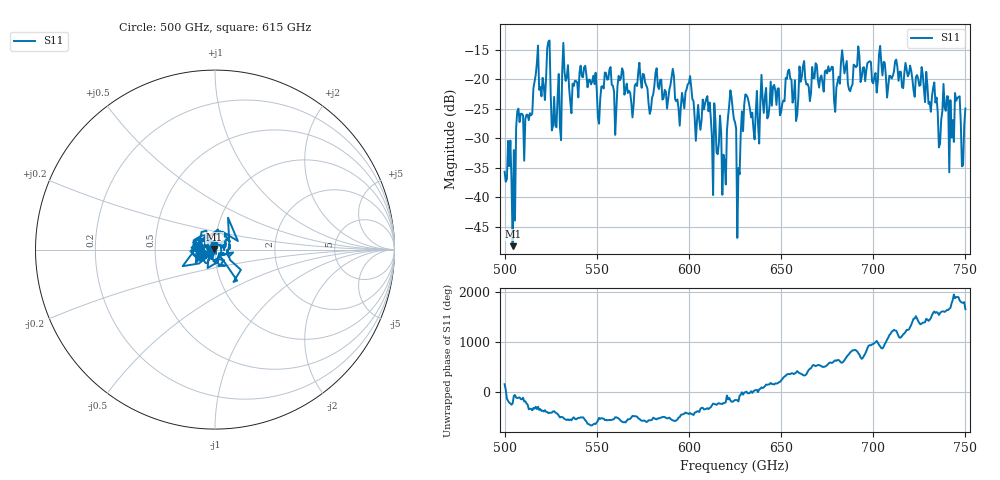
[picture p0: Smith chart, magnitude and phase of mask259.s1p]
!Created with skrf (http://scikit-rf.org).
# GHz S MA R 50.0
!freq magS11 angS11
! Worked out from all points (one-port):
!   401 points, 500 GHz to 750 GHz, reference 50 ohm
!   lowest |S11| = -48.3 dB at 504.4 GHz (marker M1), VSWR 1.01, Z = 49.7 + j0.263 ohm
!   |S11| at or under -10 dB: start of sweep to end of sweep
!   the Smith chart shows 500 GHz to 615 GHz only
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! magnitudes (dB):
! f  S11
! 500 GHz  -35.7
! 504.4 GHz  -48.3
! 507.5 GHz  -25.0
! 511.9 GHz  -26.0
! 516.9 GHz  -19.3
! 523.8 GHz  -13.7
! 526.9 GHz  -23.0
! 531.2 GHz  -18.6
! 562.5 GHz  -20.2
! 579.4 GHz  -25.2
! 590.6 GHz  -19.6
! 593.8 GHz  -23.4
! 610 GHz  -22.9
! 618.8 GHz  -32.8
! 623.1 GHz  -23.1
! 625 GHz  -27.3
! 627.5 GHz  -36.1
! 631.2 GHz  -22.7
! 636.9 GHz  -22.0
! 656.2 GHz  -24.0
! 687.5 GHz  -22.1
! 691.2 GHz  -17.7
! 718.8 GHz  -19.5
! 736.2 GHz  -30.9
! 739.4 GHz  -25.4
! 742.5 GHz  -29.9
! 745.6 GHz  -23.2
! 750 GHz  -25.0
